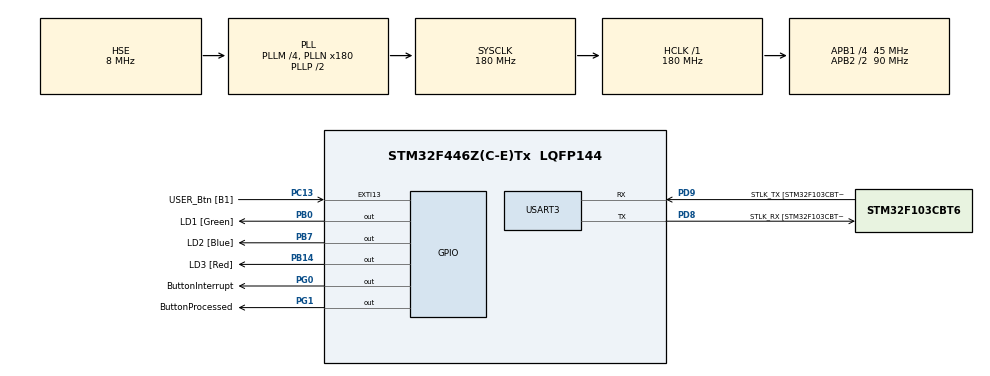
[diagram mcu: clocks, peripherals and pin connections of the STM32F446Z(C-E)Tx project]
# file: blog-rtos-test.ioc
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FREERTOS.Events01=buttonInterruptEvent,Dynamic,NULL
FREERTOS.Queues01=uartQueue,8,UartMessage,0,Dynamic,NULL,NULL
FREERTOS.Tasks01=blinkLed,32,128,StartBlinkLedTask,Default,NULL,Dynamic,NULL,NULL;uartWriter,24,128,StartUartWriter,Default,NULL,Dynamic,NULL,NULL;buttonWaiter,48,128,StartButtonWaiterTask,Default,NULL,Dynamic,NULL,NULL
FREERTOS.configENABLE_FPU=1
FREERTOS.configUSE_NEWLIB_REENTRANT=1
Mcu.Family=STM32F4
Mcu.Name=STM32F446Z(C-E)Tx
Mcu.Package=LQFP144
NVIC.EXTI15_10_IRQn=true\:5\:0\:false\:false\:true\:true\:true\:true
NVIC.PriorityGroup=NVIC_PRIORITYGROUP_4
NVIC.TIM1_UP_TIM10_IRQn=true\:0\:0\:false\:false\:true\:false\:false\:true
NVIC.TimeBase=TIM1_UP_TIM10_IRQn
NVIC.TimeBaseIP=TIM1
PA13.GPIO_Label=TMS
PA13.Mode=Serial_Wire
PA13.Signal=SYS_JTMS-SWDIO
PA14.GPIO_Label=TCK
PA14.Mode=Serial_Wire
PA14.Signal=SYS_JTCK-SWCLK
PB0.GPIO_Label=LD1 [Green]
PB0.Signal=GPIO_Output
PB14.GPIO_Label=LD3 [Red]
PB14.Signal=GPIO_Output
PB7.GPIO_Label=LD2 [Blue]
PB7.Signal=GPIO_Output
PC13.GPIO_Label=USER_Btn [B1]
PC13.GPIO_ModeDefaultEXTI=GPIO_MODE_IT_RISING_FALLING
PC13.Signal=GPXTI13
PC14-OSC32_IN.Mode=LSE-External-Oscillator
PC14-OSC32_IN.Signal=RCC_OSC32_IN
PC15-OSC32_OUT.Mode=LSE-External-Oscillator
PC15-OSC32_OUT.Signal=RCC_OSC32_OUT
PD8.GPIO_Label=STLK_RX [STM32F103CBT6_PA3]
PD8.Mode=Asynchronous
PD8.Signal=USART3_TX
PD9.GPIO_Label=STLK_TX [STM32F103CBT6_PA2]
PD9.Mode=Asynchronous
PD9.Signal=USART3_RX
PG0.GPIO_Label=ButtonInterrupt
PG0.GPIO_Speed=GPIO_SPEED_FREQ_VERY_HIGH
PG0.Signal=GPIO_Output
PG1.GPIO_Label=ButtonProcessed
PG1.GPIO_Speed=GPIO_SPEED_FREQ_VERY_HIGH
PG1.Signal=GPIO_Output
PH0-OSC_IN.GPIO_Label=MCO [STM32F103CBT6_PA8]
PH0-OSC_IN.Mode=HSE-External-Clock-Source
PH0-OSC_IN.Signal=RCC_OSC_IN
PH1-OSC_OUT.Mode=HSE-External-Clock-Source
PH1-OSC_OUT.Signal=RCC_OSC_OUT
ProjectManager.HeapSize=0x200
ProjectManager.StackSize=0x400
ProjectManager.TargetToolchain=STM32CubeIDE
RCC.48MHZClocksFreq_Value=24000000
RCC.AHBFreq_Value=180000000
RCC.APB1CLKDivider=RCC_HCLK_DIV4
RCC.APB1Freq_Value=45000000
RCC.APB1TimFreq_Value=90000000
RCC.APB2CLKDivider=RCC_HCLK_DIV2
RCC.APB2Freq_Value=90000000
RCC.APB2TimFreq_Value=180000000
RCC.CortexFreq_Value=180000000
RCC.HCLKFreq_Value=180000000
RCC.HSE_VALUE=8000000
RCC.HSI_VALUE=16000000
RCC.PLLM=4
RCC.PLLMUL=RCC_PLL_MUL9
RCC.PLLN=180
RCC.PLLQ=7
RCC.PLLSourceVirtual=RCC_PLLSOURCE_HSE
RCC.PRESCALERUSB=RCC_USBCLKSOURCE_PLL_DIV1_5
RCC.SYSCLKFreq_VALUE=180000000
RCC.SYSCLKSource=RCC_SYSCLKSOURCE_PLLCLK
RCC.SYSCLKSourceVirtual=RCC_SYSCLKSOURCE_PLLCLK
RCC.USBFreq_Value=51428571.428571425
RCC.VCOOutputFreq_Value=360000000
USART3.VirtualMode=VM_ASYNC
VP_FREERTOS_VS_CMSIS_V2.Mode=CMSIS_V2
VP_SYS_VS_tim1.Mode=TIM1
board=NUCLEO-F446ZE

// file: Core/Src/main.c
/* USER CODE BEGIN Header */
/**
 ******************************************************************************
 * @file           : main.c
 * @brief          : Main program body
 ******************************************************************************
 * @attention
 *
 * Copyright (c) 2021 STMicroelectronics.
 * All rights reserved.
 *
 * This software is licensed under terms that can be found in the LICENSE file
 * in the root directory of this software component.
 * If no LICENSE file comes with this software, it is provided AS-IS.
 *
 ******************************************************************************
 */
/* USER CODE END Header */
#include "main.h"
#include "cmsis_os.h"

/* USER CODE BEGIN Includes */
#include <string.h>
#include <stdio.h>
#include <stdatomic.h>
#include <stdbool.h>
/* USER CODE END Includes */

UART_HandleTypeDef huart3;

/* Definitions for blinkLed */
osThreadId_t blinkLedHandle;
const osThreadAttr_t blinkLed_attributes = { .name = "blinkLed", .stack_size =
		128 * 4, .priority = (osPriority_t) osPriorityAboveNormal, };
/* Definitions for uartWriter */
osThreadId_t uartWriterHandle;
const osThreadAttr_t uartWriter_attributes = { .name = "uartWriter",
		.stack_size = 128 * 4, .priority = (osPriority_t) osPriorityNormal, };
/* Definitions for buttonWaiter */
osThreadId_t buttonWaiterHandle;
const osThreadAttr_t buttonWaiter_attributes = { .name = "buttonWaiter",
		.stack_size = 128 * 4, .priority = (osPriority_t) osPriorityRealtime, };
/* Definitions for uartQueue */
osMessageQueueId_t uartQueueHandle;
const osMessageQueueAttr_t uartQueue_attributes = { .name = "uartQueue" };
/* Definitions for buttonInterruptEvent */
osEventFlagsId_t buttonInterruptEventHandle;
const osEventFlagsAttr_t buttonInterruptEvent_attributes = { .name =
		"buttonInterruptEvent" };

void SystemClock_Config(void);
static void MX_GPIO_Init(void);
static void MX_USART3_UART_Init(void);
void StartBlinkLedTask(void *argument);
void StartUartWriter(void *argument);
void StartButtonWaiterTask(void *argument);

/* USER CODE BEGIN 0 */
atomic_bool buttonPressed;

typedef struct {
	char data[32];
} UartMessage;
/* USER CODE END 0 */

int main(void) {
	/* USER CODE BEGIN 1 */
	atomic_init(&buttonPressed, false);
	/* USER CODE END 1 */

	/* MCU Configuration--------------------------------------------------------*/

	/* Reset of all peripherals, Initializes the Flash interface and the Systick. */
	HAL_Init();

	/* Configure the system clock */
	SystemClock_Config();

	/* Initialize all configured peripherals */
	MX_GPIO_Init();
	MX_USART3_UART_Init();

	/* Init scheduler */
	osKernelInitialize();

	/* Create the queue(s) */
	/* creation of uartQueue */
	uartQueueHandle = osMessageQueueNew(8, sizeof(UartMessage),
			&uartQueue_attributes);

	/* Create the thread(s) */
	/* creation of blinkLed */
	blinkLedHandle = osThreadNew(StartBlinkLedTask, NULL, &blinkLed_attributes);

	/* creation of uartWriter */
	uartWriterHandle = osThreadNew(StartUartWriter, NULL,
			&uartWriter_attributes);

	/* creation of buttonWaiter */
	buttonWaiterHandle = osThreadNew(StartButtonWaiterTask, NULL,
			&buttonWaiter_attributes);

	/* Create the event(s) */
	/* creation of buttonInterruptEvent */
	buttonInterruptEventHandle = osEventFlagsNew(
			&buttonInterruptEvent_attributes);

	/* Start scheduler */
	osKernelStart();

	/* We should never get here as control is now taken by the scheduler */
	/* Infinite loop */
	while (1) {

	}
}

void SystemClock_Config(void) {
	RCC_OscInitTypeDef RCC_OscInitStruct = { 0 };
	RCC_ClkInitTypeDef RCC_ClkInitStruct = { 0 };

	/** Configure the main internal regulator output voltage
	 */
	__HAL_RCC_PWR_CLK_ENABLE();
	__HAL_PWR_VOLTAGESCALING_CONFIG(PWR_REGULATOR_VOLTAGE_SCALE1);
	/** Initializes the RCC Oscillators according to the specified parameters
	 * in the RCC_OscInitTypeDef structure.
	 */
	RCC_OscInitStruct.OscillatorType = RCC_OSCILLATORTYPE_HSE;
	RCC_OscInitStruct.HSEState = RCC_HSE_BYPASS;
	RCC_OscInitStruct.PLL.PLLState = RCC_PLL_ON;
	RCC_OscInitStruct.PLL.PLLSource = RCC_PLLSOURCE_HSE;
	RCC_OscInitStruct.PLL.PLLM = 4;
	RCC_OscInitStruct.PLL.PLLN = 180;
	RCC_OscInitStruct.PLL.PLLP = RCC_PLLP_DIV2;
	RCC_OscInitStruct.PLL.PLLQ = 7;
	RCC_OscInitStruct.PLL.PLLR = 2;
	if (HAL_RCC_OscConfig(&RCC_OscInitStruct) != HAL_OK) {
		Error_Handler();
	}
	/** Activate the Over-Drive mode
	 */
	if (HAL_PWREx_EnableOverDrive() != HAL_OK) {
		Error_Handler();
	}
	/** Initializes the CPU, AHB and APB buses clocks
	 */
	RCC_ClkInitStruct.ClockType = RCC_CLOCKTYPE_HCLK | RCC_CLOCKTYPE_SYSCLK
			| RCC_CLOCKTYPE_PCLK1 | RCC_CLOCKTYPE_PCLK2;
	RCC_ClkInitStruct.SYSCLKSource = RCC_SYSCLKSOURCE_PLLCLK;
	RCC_ClkInitStruct.AHBCLKDivider = RCC_SYSCLK_DIV1;
	RCC_ClkInitStruct.APB1CLKDivider = RCC_HCLK_DIV4;
	RCC_ClkInitStruct.APB2CLKDivider = RCC_HCLK_DIV2;

	if (HAL_RCC_ClockConfig(&RCC_ClkInitStruct, FLASH_LATENCY_5) != HAL_OK) {
		Error_Handler();
	}
}

static void MX_USART3_UART_Init(void) {

	huart3.Instance = USART3;
	huart3.Init.BaudRate = 115200;
	huart3.Init.WordLength = UART_WORDLENGTH_8B;
	huart3.Init.StopBits = UART_STOPBITS_1;
	huart3.Init.Parity = UART_PARITY_NONE;
	huart3.Init.Mode = UART_MODE_TX_RX;
	huart3.Init.HwFlowCtl = UART_HWCONTROL_NONE;
	huart3.Init.OverSampling = UART_OVERSAMPLING_16;
	if (HAL_UART_Init(&huart3) != HAL_OK) {
		Error_Handler();
	}

}

static void MX_GPIO_Init(void) {
	GPIO_InitTypeDef GPIO_InitStruct = { 0 };

	/* GPIO Ports Clock Enable */
	__HAL_RCC_GPIOC_CLK_ENABLE();
	__HAL_RCC_GPIOH_CLK_ENABLE();
	__HAL_RCC_GPIOB_CLK_ENABLE();
	__HAL_RCC_GPIOG_CLK_ENABLE();
	__HAL_RCC_GPIOD_CLK_ENABLE();
	__HAL_RCC_GPIOA_CLK_ENABLE();

	/*Configure GPIO pin Output Level */
	HAL_GPIO_WritePin(GPIOB, LD1_Pin | LD3_Pin | LD2_Pin, GPIO_PIN_RESET);

	/*Configure GPIO pin Output Level */
	HAL_GPIO_WritePin(GPIOG, ButtonInterrupt_Pin | ButtonProcessed_Pin,
			GPIO_PIN_RESET);

	/*Configure GPIO pin : USER_Btn_Pin */
	GPIO_InitStruct.Pin = USER_Btn_Pin;
	GPIO_InitStruct.Mode = GPIO_MODE_IT_RISING_FALLING;
	GPIO_InitStruct.Pull = GPIO_NOPULL;
	HAL_GPIO_Init(USER_Btn_GPIO_Port, &GPIO_InitStruct);

	/*Configure GPIO pins : LD1_Pin LD3_Pin LD2_Pin */
	GPIO_InitStruct.Pin = LD1_Pin | LD3_Pin | LD2_Pin;
	GPIO_InitStruct.Mode = GPIO_MODE_OUTPUT_PP;
	GPIO_InitStruct.Pull = GPIO_NOPULL;
	GPIO_InitStruct.Speed = GPIO_SPEED_FREQ_LOW;
	HAL_GPIO_Init(GPIOB, &GPIO_InitStruct);

	/*Configure GPIO pins : ButtonInterrupt_Pin ButtonProcessed_Pin */
	GPIO_InitStruct.Pin = ButtonInterrupt_Pin | ButtonProcessed_Pin;
	GPIO_InitStruct.Mode = GPIO_MODE_OUTPUT_PP;
	GPIO_InitStruct.Pull = GPIO_NOPULL;
	GPIO_InitStruct.Speed = GPIO_SPEED_FREQ_VERY_HIGH;
	HAL_GPIO_Init(GPIOG, &GPIO_InitStruct);

	/* EXTI interrupt init*/
	HAL_NVIC_SetPriority(EXTI15_10_IRQn, 5, 0);
	HAL_NVIC_EnableIRQ(EXTI15_10_IRQn);

}

/* USER CODE BEGIN 4 */
void HAL_GPIO_EXTI_Callback(uint16_t GPIO_Pin) {
	if (GPIO_Pin == USER_Btn_Pin) {
		osThreadFlagsSet(buttonWaiterHandle, 1);
	}
}

void CheckStatus(int status) {
	if (status) {
		Error_Handler();
	}
}

UartMessage FormatMessage(int triggerCount, bool buttonPressed) {
	UartMessage message;
	snprintf(message.data, sizeof(message.data), "Button is %i (%i)\n",
			buttonPressed, triggerCount);
	return message;
}
/* USER CODE END 4 */

void StartBlinkLedTask(void *argument) {
	/* USER CODE BEGIN 5 */
	/* Infinite loop */
	for (;;) {
		osDelay(100);

		if (atomic_load(&buttonPressed) == GPIO_PIN_RESET) {
			HAL_GPIO_WritePin(LD1_GPIO_Port, LD1_Pin, GPIO_PIN_SET);
		}

		osDelay(100);
		HAL_GPIO_WritePin(LD1_GPIO_Port, LD1_Pin, GPIO_PIN_RESET);
	}
	/* USER CODE END 5 */
}

void StartUartWriter(void *argument) {
	/* USER CODE BEGIN StartUartWriter */
	/* Infinite loop */
	for (;;) {
		UartMessage message;

		CheckStatus(osMessageQueueGet(uartQueueHandle, &message, NULL,
		osWaitForever));

		size_t messageLength = strnlen(message.data, sizeof(message.data));
		CheckStatus(
				HAL_UART_Transmit(&huart3, (uint8_t*) &message.data,
						(uint16_t) messageLength, 1000));
	}
	/* USER CODE END StartUartWriter */
}

void StartButtonWaiterTask(void *argument) {
	/* USER CODE BEGIN StartButtonWaiterTask */
	int triggerCount = 0;
	UartMessage message;

	/* Infinite loop */
	for (;;) {
		// Only react to rising edges
		EXTI->RTSR |= USER_Btn_Pin;
		EXTI->FTSR &= ~USER_Btn_Pin;

		HAL_GPIO_WritePin(ButtonProcessed_GPIO_Port, ButtonProcessed_Pin,
				GPIO_PIN_RESET);
		osThreadFlagsWait(1, osFlagsWaitAny, osWaitForever);
		HAL_GPIO_WritePin(ButtonProcessed_GPIO_Port, ButtonProcessed_Pin,
				GPIO_PIN_SET);
		triggerCount++;

		// Set the button pressed variable
		atomic_store(&buttonPressed, true);
		message = FormatMessage(triggerCount, true);
		CheckStatus(
				osMessageQueuePut(uartQueueHandle, &message, 0, osWaitForever));

		// Only react to falling edges
		EXTI->RTSR |= USER_Btn_Pin;
		EXTI->FTSR &= ~USER_Btn_Pin;

		HAL_GPIO_WritePin(ButtonProcessed_GPIO_Port, ButtonProcessed_Pin,
				GPIO_PIN_RESET);
		osThreadFlagsWait(1, osFlagsWaitAny, osWaitForever);
		HAL_GPIO_WritePin(ButtonProcessed_GPIO_Port, ButtonProcessed_Pin,
				GPIO_PIN_SET);
		triggerCount++;

		// Set the button pressed variable
		atomic_store(&buttonPressed, false);
		message = FormatMessage(triggerCount, false);
		CheckStatus(
				osMessageQueuePut(uartQueueHandle, &message, 0, osWaitForever));
	}
	/* USER CODE END StartButtonWaiterTask */
}

void HAL_TIM_PeriodElapsedCallback(TIM_HandleTypeDef *htim) {
	if (htim->Instance == TIM1) {
		HAL_IncTick();
	}
}

void Error_Handler(void) {
	/* USER CODE BEGIN Error_Handler_Debug */
	/* User can add his own implementation to report the HAL error return state */
	__disable_irq();
	while (1) {
		__BKPT(0);
	}
	/* USER CODE END Error_Handler_Debug */
}
